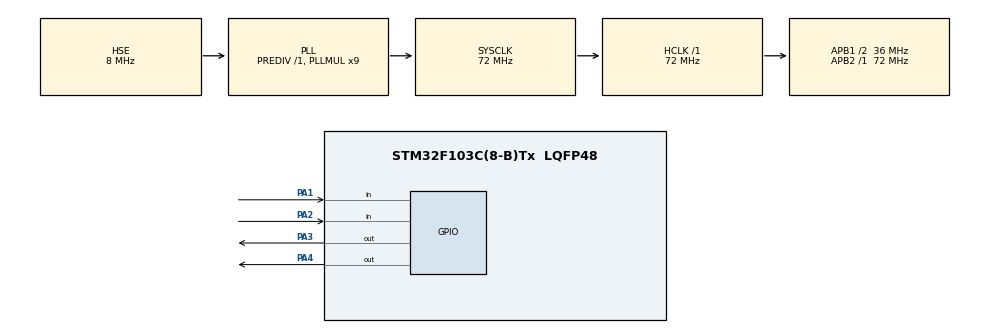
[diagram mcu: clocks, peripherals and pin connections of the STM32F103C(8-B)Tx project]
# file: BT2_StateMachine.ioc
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Mcu.Family=STM32F1
Mcu.Name=STM32F103C(8-B)Tx
Mcu.Package=LQFP48
NVIC.PriorityGroup=NVIC_PRIORITYGROUP_4
PA1.GPIO_PuPd=GPIO_PULLUP
PA1.Signal=GPIO_Input
PA13.Mode=Serial_Wire
PA13.Signal=SYS_JTMS-SWDIO
PA14.Mode=Serial_Wire
PA14.Signal=SYS_JTCK-SWCLK
PA2.GPIO_PuPd=GPIO_PULLUP
PA2.Signal=GPIO_Input
PA3.Signal=GPIO_Output
PA4.Signal=GPIO_Output
PD0-OSC_IN.Mode=HSE-External-Oscillator
PD0-OSC_IN.Signal=RCC_OSC_IN
PD1-OSC_OUT.Mode=HSE-External-Oscillator
PD1-OSC_OUT.Signal=RCC_OSC_OUT
ProjectManager.HeapSize=0x200
ProjectManager.StackSize=0x400
ProjectManager.TargetToolchain=STM32CubeIDE
RCC.AHBFreq_Value=72000000
RCC.APB1CLKDivider=RCC_HCLK_DIV2
RCC.APB1Freq_Value=36000000
RCC.APB1TimFreq_Value=72000000
RCC.APB2Freq_Value=72000000
RCC.APB2TimFreq_Value=72000000
RCC.HCLKFreq_Value=72000000
RCC.PLLMUL=RCC_PLL_MUL9
RCC.PLLSourceVirtual=RCC_PLLSOURCE_HSE
RCC.SYSCLKFreq_VALUE=72000000
RCC.SYSCLKSource=RCC_SYSCLKSOURCE_PLLCLK
RCC.USBFreq_Value=72000000
board=custom

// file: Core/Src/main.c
/* USER CODE BEGIN Header */
/**
  ******************************************************************************
  * @file           : main.c
  * @brief          : Main program body
  ******************************************************************************
  * @attention
  *
  * <h2><center>&copy; Copyright (c) 2024 STMicroelectronics.
  * All rights reserved.</center></h2>
  *
  * This software component is licensed by ST under BSD 3-Clause license,
  * the "License"; You may not use this file except in compliance with the
  * License. You may obtain a copy of the License at:
  *                        opensource.org/licenses/BSD-3-Clause
  *
  ******************************************************************************
  */
/* USER CODE END Header */
#include "main.h"

void SystemClock_Config(void);
static void MX_GPIO_Init(void);

/* USER CODE BEGIN 0 */
typedef enum{LED_OFF, OFF_WAIT, LED_ON, ON_RELEASE, ON_WAIT, OFF_RELEASE} state_t;
typedef enum{BTN_RELEASE, BTN_PRESS} btn_t;

static state_t Status_GreenLED, Status_RedLED;
static btn_t Btn_1, Btn_2;
static btn_t StatusBtn(GPIO_TypeDef* GPIOx, uint16_t GPIO_Pin);

int timerCount = 0;

btn_t StatusBtn(GPIO_TypeDef* GPIOx, uint16_t GPIO_Pin){
		if(HAL_GPIO_ReadPin(GPIOx, GPIO_Pin)) {
			HAL_Delay(10);
			if(HAL_GPIO_ReadPin(GPIOx, GPIO_Pin)) return BTN_RELEASE;
		}
		else return BTN_PRESS;
}

void checkBtn(void){
	Btn_1 = StatusBtn(GPIOA, GPIO_PIN_1);
	Btn_2 = StatusBtn(GPIOA, GPIO_PIN_2);
}

void initState(){
	Status_RedLED = LED_OFF;
	Status_GreenLED = LED_OFF;
}

void stateMachine_SW1(void){
	switch(Status_RedLED)
	{
	case LED_OFF:
		if(Btn_1 == BTN_PRESS) Status_RedLED = ON_WAIT;
		break;

	case ON_WAIT:
		if(Btn_1 == BTN_RELEASE) Status_RedLED = LED_ON;
		break;

	case LED_ON:
		if(Btn_1 == BTN_PRESS) Status_RedLED = OFF_WAIT;
		break;

	case OFF_WAIT:
		if(Btn_1 == BTN_RELEASE) Status_RedLED = LED_OFF;
		break;

	default:
		Status_RedLED = LED_OFF;
		break;

	}

    // control Red LED
    controlLED(GPIOA, GPIO_PIN_3, Status_RedLED);

}

void stateMachine_SW2(void){
    switch (Status_GreenLED)
    {
    case LED_OFF:
        if(Btn_2==BTN_PRESS) {
            Status_GreenLED = OFF_WAIT;
            timerCount = 3000;
        }
        break;
    case OFF_WAIT:
        if(Btn_2==BTN_PRESS){
            if(timerCount==0){
                Status_GreenLED = LED_ON;
            }
        }
        else if(Btn_2==BTN_RELEASE){
            Status_GreenLED = LED_OFF;
        }
        break;
    case LED_ON:
        if(Btn_2==BTN_RELEASE){
            Status_GreenLED = ON_RELEASE;
        }
        break;
    case ON_RELEASE:
        if(Btn_2==BTN_PRESS){
            Status_GreenLED = ON_WAIT;
            timerCount = 6000;
        }
        break;
    case ON_WAIT:
        if(Btn_2==BTN_PRESS){
            if(timerCount == 0){
                Status_GreenLED = OFF_RELEASE;
            }
        }
        else if(Btn_2==BTN_RELEASE){
            Status_GreenLED = ON_RELEASE;
        }
        break;
    case OFF_RELEASE:
        if(Btn_2==BTN_RELEASE){
        	Status_GreenLED = LED_OFF;
        }
        break;
    default:
        Status_GreenLED = LED_OFF;
        break;
    }

    // control Green LED
    controlLED(GPIOA, GPIO_PIN_4, Status_GreenLED);

}

void controlLED(GPIO_TypeDef* GPIOx, uint16_t GPIO_Pin, state_t status_LED){
	switch(status_LED){
	case LED_OFF:
		HAL_GPIO_WritePin(GPIOx, GPIO_Pin, RESET);
		break;

	case OFF_WAIT:
		HAL_GPIO_WritePin(GPIOx, GPIO_Pin, RESET);
		break;

	case LED_ON:
		HAL_GPIO_WritePin(GPIOx, GPIO_Pin, SET);
		break;

	case ON_RELEASE:
		HAL_GPIO_WritePin(GPIOx, GPIO_Pin, SET);
		break;

	case ON_WAIT:
		HAL_GPIO_WritePin(GPIOx, GPIO_Pin, SET);
		break;

	case OFF_RELEASE:
		HAL_GPIO_WritePin(GPIOx, GPIO_Pin, RESET);
		break;

	default:
		HAL_GPIO_WritePin(GPIOx, GPIO_Pin, RESET);
		break;
	}
}
/* USER CODE END 0 */

int main(void)
{

  /* MCU Configuration--------------------------------------------------------*/

  /* Reset of all peripherals, Initializes the Flash interface and the Systick. */
  HAL_Init();

  /* Configure the system clock */
  SystemClock_Config();

  /* Initialize all configured peripherals */
  MX_GPIO_Init();
  /* USER CODE BEGIN 2 */
  initState();

  /* USER CODE END 2 */

  /* Infinite loop */
  while (1)
  {
	  checkBtn();
	  stateMachine_SW1();
	  stateMachine_SW2();
  }
}

void SystemClock_Config(void)
{
  RCC_OscInitTypeDef RCC_OscInitStruct = {0};
  RCC_ClkInitTypeDef RCC_ClkInitStruct = {0};

  /** Initializes the RCC Oscillators according to the specified parameters
  * in the RCC_OscInitTypeDef structure.
  */
  RCC_OscInitStruct.OscillatorType = RCC_OSCILLATORTYPE_HSE;
  RCC_OscInitStruct.HSEState = RCC_HSE_ON;
  RCC_OscInitStruct.HSEPredivValue = RCC_HSE_PREDIV_DIV1;
  RCC_OscInitStruct.HSIState = RCC_HSI_ON;
  RCC_OscInitStruct.PLL.PLLState = RCC_PLL_ON;
  RCC_OscInitStruct.PLL.PLLSource = RCC_PLLSOURCE_HSE;
  RCC_OscInitStruct.PLL.PLLMUL = RCC_PLL_MUL9;
  if (HAL_RCC_OscConfig(&RCC_OscInitStruct) != HAL_OK)
  {
    Error_Handler();
  }
  /** Initializes the CPU, AHB and APB buses clocks
  */
  RCC_ClkInitStruct.ClockType = RCC_CLOCKTYPE_HCLK|RCC_CLOCKTYPE_SYSCLK
                              |RCC_CLOCKTYPE_PCLK1|RCC_CLOCKTYPE_PCLK2;
  RCC_ClkInitStruct.SYSCLKSource = RCC_SYSCLKSOURCE_PLLCLK;
  RCC_ClkInitStruct.AHBCLKDivider = RCC_SYSCLK_DIV1;
  RCC_ClkInitStruct.APB1CLKDivider = RCC_HCLK_DIV2;
  RCC_ClkInitStruct.APB2CLKDivider = RCC_HCLK_DIV1;

  if (HAL_RCC_ClockConfig(&RCC_ClkInitStruct, FLASH_LATENCY_2) != HAL_OK)
  {
    Error_Handler();
  }
}

static void MX_GPIO_Init(void)
{
  GPIO_InitTypeDef GPIO_InitStruct = {0};

  /* GPIO Ports Clock Enable */
  __HAL_RCC_GPIOD_CLK_ENABLE();
  __HAL_RCC_GPIOA_CLK_ENABLE();

  /*Configure GPIO pin Output Level */
  HAL_GPIO_WritePin(GPIOA, GPIO_PIN_3|GPIO_PIN_4, GPIO_PIN_RESET);

  /*Configure GPIO pins : PA1 PA2 */
  GPIO_InitStruct.Pin = GPIO_PIN_1|GPIO_PIN_2;
  GPIO_InitStruct.Mode = GPIO_MODE_INPUT;
  GPIO_InitStruct.Pull = GPIO_PULLUP;
  HAL_GPIO_Init(GPIOA, &GPIO_InitStruct);

  /*Configure GPIO pins : PA3 PA4 */
  GPIO_InitStruct.Pin = GPIO_PIN_3|GPIO_PIN_4;
  GPIO_InitStruct.Mode = GPIO_MODE_OUTPUT_PP;
  GPIO_InitStruct.Pull = GPIO_NOPULL;
  GPIO_InitStruct.Speed = GPIO_SPEED_FREQ_LOW;
  HAL_GPIO_Init(GPIOA, &GPIO_InitStruct);

}

void Error_Handler(void)
{
  __disable_irq();
  while (1)
  {
  }
}

/************************ (C) COPYRIGHT STMicroelectronics *****END OF FILE****/
